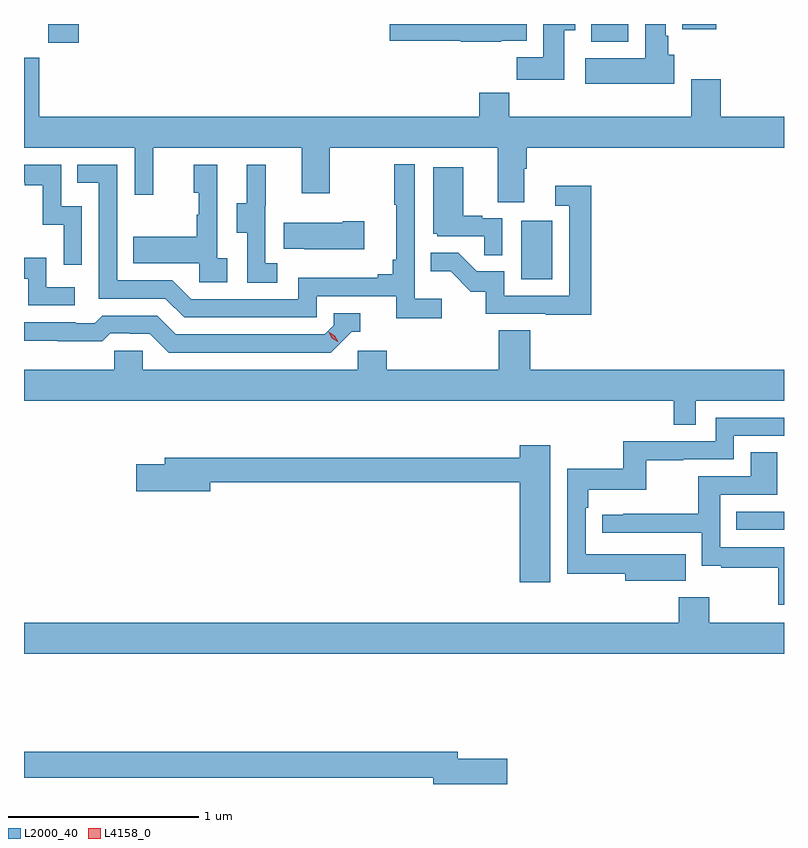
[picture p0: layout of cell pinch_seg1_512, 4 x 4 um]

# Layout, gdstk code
import gdstk
lib = gdstk.Library(unit=1e-6, precision=1e-09)
def R(c, l, rs):  # rectangles x0, y0, x1, y1
    for r in rs: c.add(gdstk.rectangle(r[:2], r[2:], *l))
def P(c, l, *ps):  # polygons
    for p in ps: c.add(gdstk.Polygon(p, *l))
L2000_40 = (2000, 40)
L4158_0 = (4158, 0)

pinch_seg1_512 = lib.new_cell('pinch_seg1_512')
R(pinch_seg1_512, L2000_40, [(1021.195,535.068,1021.446,535.164), (1020.062,536.388,1020.226,536.695), (1017.574,537.633,1017.734,537.731), (1020.431,537.638,1020.627,537.731), (1020.911,537.704,1021.09,537.731)])
P(pinch_seg1_512, L2000_40, [(1020.868,537.57),(1020.838,537.57),(1020.838,537.67),(1020.823,537.67),(1020.823,537.731),(1020.716,537.731),(1020.716,537.55),(1020.399,537.55),(1020.399,537.416),(1020.868,537.416)],
  [(1019.958,537.644),(1020.091,537.644),(1020.091,537.731),(1019.37,537.731),(1019.37,537.643),(1019.744,537.643),(1019.744,537.638),(1019.958,537.638)],
  [(1020.289,537.697),(1020.346,537.697),(1020.346,537.731),(1020.179,537.731),(1020.179,537.556),(1020.04,537.556),(1020.04,537.438),(1020.289,537.438)],
  [(1019.939,536.794),(1020.079,536.794),(1020.079,536.968),(1020.092,536.968),(1020.092,537.08),(1021.446,537.08),(1021.446,537.244),(1021.112,537.244),(1021.112,537.439),(1020.959,537.439),(1020.959,537.244),(1019.999,537.244),(1019.999,537.368),(1019.843,537.368),(1019.843,537.244),(1017.526,537.244),(1017.526,537.553),(1017.446,537.553),(1017.446,537.08),(1018.029,537.08),(1018.029,536.832),(1018.127,536.832),(1018.127,537.08),(1018.907,537.08),(1018.907,536.841),(1019.055,536.841),(1019.055,537.08),(1019.939,537.08)],
  [(1019.644,536.284),(1019.502,536.284),(1019.502,536.992),(1019.394,536.992),(1019.394,536.779),(1019.405,536.779),(1019.405,536.491),(1019.386,536.491),(1019.386,536.414),(1019.309,536.414),(1019.309,536.395),(1018.89,536.395),(1018.89,536.283),(1018.326,536.283),(1018.227,536.382),(1017.936,536.382),(1017.936,536.991),(1017.727,536.991),(1017.727,536.895),(1017.84,536.895),(1017.84,536.286),(1018.19,536.286),(1018.289,536.187),(1018.986,536.187),(1018.986,536.298),(1019.405,536.298),(1019.405,536.182),(1019.644,536.182)],
  [(1017.75,536.772),(1017.642,536.772),(1017.642,536.991),(1017.446,536.991),(1017.446,536.895),(1017.449,536.895),(1017.449,536.883),(1017.545,536.883),(1017.545,536.675),(1017.654,536.675),(1017.654,536.463),(1017.75,536.463)],
  [(1018.516,536.498),(1018.464,536.498),(1018.464,536.989),(1018.34,536.989),(1018.34,536.844),(1018.366,536.844),(1018.366,536.726),(1018.356,536.726),(1018.356,536.611),(1018.021,536.611),(1018.021,536.471),(1018.368,536.471),(1018.368,536.373),(1018.516,536.373)],
  [(1018.78,536.471),(1018.716,536.471),(1018.716,536.775),(1018.718,536.775),(1018.718,536.989),(1018.619,536.989),(1018.619,536.787),(1018.565,536.787),(1018.565,536.632),(1018.62,536.632),(1018.62,536.368),(1018.78,536.368)],
  [(1019.964,536.709),(1019.858,536.709),(1019.858,536.722),(1019.758,536.722),(1019.758,536.977),(1019.6,536.977),(1019.6,536.628),(1019.622,536.628),(1019.622,536.613),(1019.869,536.613),(1019.869,536.515),(1019.964,536.515)],
  [(1020.431,536.881),(1020.243,536.881),(1020.243,536.775),(1020.315,536.775),(1020.315,536.301),(1019.973,536.301),(1019.973,536.43),(1019.829,536.43),(1019.731,536.528),(1019.587,536.528),(1019.587,536.429),(1019.691,536.429),(1019.798,536.322),(1019.875,536.322),(1019.875,536.205),(1020.193,536.205),(1020.193,536.2),(1020.431,536.2)],
  [(1019.236,536.694),(1019.123,536.694),(1019.123,536.686),(1018.813,536.686),(1018.813,536.549),(1018.921,536.549),(1018.921,536.546),(1019.236,536.546)],
  [(1017.712,536.346),(1017.564,536.346),(1017.564,536.5),(1017.446,536.5),(1017.446,536.391),(1017.468,536.391),(1017.468,536.25),(1017.712,536.25)],
  [(1019.172,536.112),(1019.215,536.112),(1019.215,536.208),(1019.076,536.208),(1019.076,536.145),(1019.028,536.097),(1018.245,536.097),(1018.146,536.196),(1017.857,536.196),(1017.818,536.157),(1017.719,536.157),(1017.719,536.16),(1017.446,536.16),(1017.446,536.063),(1017.624,536.063),(1017.624,536.061),(1017.857,536.061),(1017.899,536.103),(1018.002,536.103),(1018.002,536.1),(1018.109,536.1),(1018.208,536.001),(1019.061,536.001)],
  [(1020.981,535.748),(1021.446,535.748),(1021.446,535.912),(1020.11,535.912),(1020.11,536.12),(1019.945,536.12),(1019.945,535.912),(1019.354,535.912),(1019.354,536.01),(1019.202,536.01),(1019.202,535.912),(1018.071,535.912),(1018.071,536.01),(1017.921,536.01),(1017.921,535.912),(1017.446,535.912),(1017.446,535.748),(1020.865,535.748),(1020.865,535.621),(1020.981,535.621)],
  [(1020.929,534.94),(1020.715,534.94),(1020.715,534.939),(1020.402,534.939),(1020.402,535.184),(1020.416,535.184),(1020.416,535.28),(1020.721,535.28),(1020.721,535.435),(1020.917,535.435),(1020.917,535.44),(1021.182,535.44),(1021.182,535.563),(1021.446,535.563),(1021.446,535.659),(1021.086,535.659),(1021.086,535.536),(1020.6,535.536),(1020.6,535.39),(1020.306,535.39),(1020.306,534.838),(1020.611,534.838),(1020.611,534.8),(1020.929,534.8)],
  [(1020.217,535.513),(1020.056,535.513),(1020.056,535.447),(1018.187,535.447),(1018.187,535.413),(1018.038,535.413),(1018.038,535.271),(1018.426,535.271),(1018.426,535.318),(1020.056,535.318),(1020.056,534.792),(1020.217,534.792)],
  [(1021.446,534.978),(1021.11,534.978),(1021.11,535.254),(1021.411,535.254),(1021.411,535.478),(1021.271,535.478),(1021.271,535.35),(1020.994,535.35),(1020.994,535.154),(1020.601,535.154),(1020.601,535.149),(1020.489,535.149),(1020.489,535.053),(1021.014,535.053),(1021.014,534.881),(1021.117,534.881),(1021.117,534.87),(1021.416,534.87),(1021.416,534.675),(1021.446,534.675)],
  [(1021.446,534.58),(1021.053,534.58),(1021.053,534.715),(1020.893,534.715),(1020.893,534.58),(1017.446,534.58),(1017.446,534.416),(1021.446,534.416)],
  [(1019.989,533.864),(1019.728,533.864),(1019.728,533.9),(1017.446,533.9),(1017.446,533.764),(1019.6,533.764),(1019.6,533.731),(1019.989,533.731)])
P(pinch_seg1_512, L4158_0, [(1019.098,536.058),(1019.067,536.077),(1019.051,536.11),(1019.051,536.11),(1019.051,536.11),(1019.082,536.091),(1019.099,536.059),(1019.099,536.058)])

lib.write_gds('pinch_seg1_512.gds')
